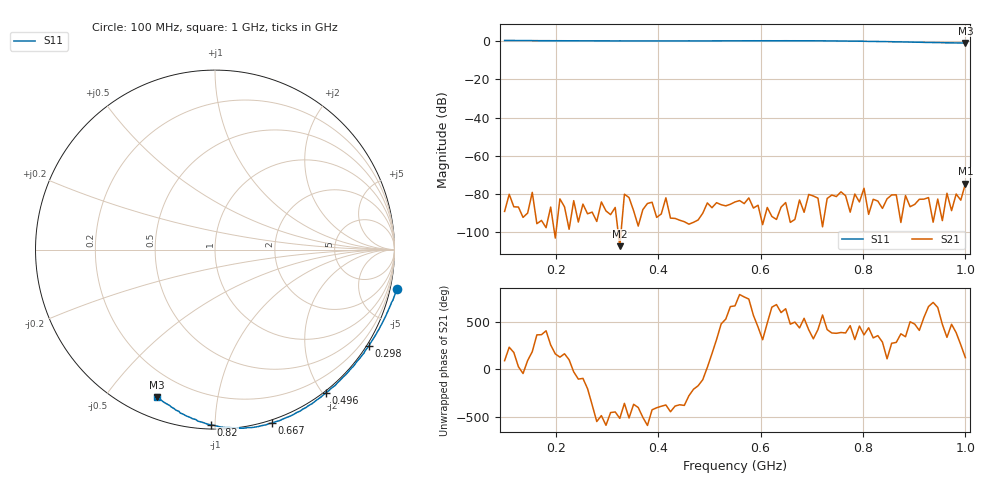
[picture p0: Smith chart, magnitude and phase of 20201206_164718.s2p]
# HZ S RI R 50
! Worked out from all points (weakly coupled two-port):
!   101 points, 100 MHz to 1 GHz, reference 50 ohm
!   highest |S21| = -74.53 dB at 1 GHz (marker M1); lowest = -107.2 dB at 325 MHz (marker M2)
!   lowest |S11| = -1.1 dB at 1 GHz (marker M3), VSWR 16.44, Z = 4.44 - j33.9 ohm
!   |S11| at or under -10 dB: nowhere
!   S12 and S22 are empty: the file has one direction only
!   S11 on the Smith chart (normalised r, x): 100 MHz: -1.52, -9.11; 298 MHz: -0.07, -3.46; 496 MHz: -0.02, -2.04; 667 MHz: -0.02, -1.38; 820 MHz: 0.02, -0.98; 1 GHz: 0.09, -0.68
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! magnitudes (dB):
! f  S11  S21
! 100 MHz  0.3  -89.0
! 145 MHz  0.2  -89.9
! 154 MHz  0.2  -79.1
! 163 MHz  0.2  -95.4
! 253 MHz  0.1  -85.2
! 298 MHz  0.1  -88.8
! 325 MHz  0.1  -107.2
! 406 MHz  0.1  -90.4
! 496 MHz  0.1  -84.6
! 550 MHz  0.1  -84.1
! 667 MHz  0.1  -93.2
! 703 MHz  0.1  -81.0
! 748 MHz  0.0  -81.2
! 757 MHz  0.0  -78.8
! 766 MHz  0.0  -80.8
! 793 MHz  -0.1  -84.1
! 802 MHz  -0.1  -76.9
! 811 MHz  -0.2  -90.6
! 820 MHz  -0.2  -82.7
! 856 MHz  -0.3  -80.4
! 991 MHz  -1.0  -83.2
! 1 GHz  -1.1  -74.5
